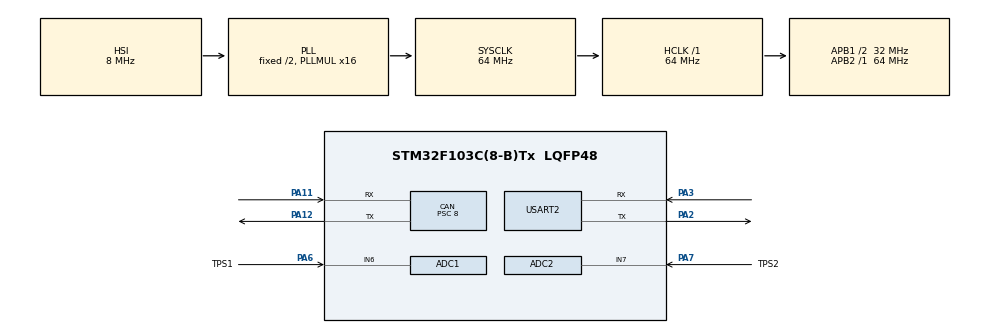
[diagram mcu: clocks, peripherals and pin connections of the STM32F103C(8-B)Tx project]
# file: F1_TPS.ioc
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ADC1.Channel-0\#ChannelRegularConversion=ADC_CHANNEL_6
ADC1.NbrOfConversionFlag=1
ADC1.Rank-0\#ChannelRegularConversion=1
ADC1.SamplingTime-0\#ChannelRegularConversion=ADC_SAMPLETIME_28CYCLES_5
ADC1.master=1
ADC2.Channel-0\#ChannelRegularConversion=ADC_CHANNEL_7
ADC2.NbrOfConversionFlag=1
ADC2.Rank-0\#ChannelRegularConversion=1
ADC2.SamplingTime-0\#ChannelRegularConversion=ADC_SAMPLETIME_28CYCLES_5
CAN.ABOM=ENABLE
CAN.BS1=CAN_BS1_6TQ
CAN.CalculateBaudRate=500000
CAN.CalculateTimeBit=2000
CAN.CalculateTimeQuantum=250.0
CAN.NART=ENABLE
CAN.Prescaler=8
Mcu.Family=STM32F1
Mcu.Name=STM32F103C(8-B)Tx
Mcu.Package=LQFP48
NVIC.CAN1_RX1_IRQn=true\:2\:0\:true\:false\:true\:true\:true\:true
NVIC.CAN1_SCE_IRQn=true\:2\:0\:true\:false\:true\:true\:true\:true
NVIC.PriorityGroup=NVIC_PRIORITYGROUP_4
NVIC.TIM2_IRQn=true\:1\:0\:true\:false\:true\:true\:true\:true
NVIC.USB_HP_CAN1_TX_IRQn=true\:2\:0\:true\:false\:true\:true\:true\:true
NVIC.USB_LP_CAN1_RX0_IRQn=true\:2\:0\:true\:false\:true\:true\:true\:true
PA11.Mode=CAN_Activate
PA11.Signal=CAN_RX
PA12.Mode=CAN_Activate
PA12.Signal=CAN_TX
PA13.Mode=Serial_Wire
PA13.Signal=SYS_JTMS-SWDIO
PA14.Mode=Serial_Wire
PA14.Signal=SYS_JTCK-SWCLK
PA2.Mode=Asynchronous
PA2.Signal=USART2_TX
PA3.Mode=Asynchronous
PA3.Signal=USART2_RX
PA6.GPIO_Label=TPS1
PA6.Signal=ADCx_IN6
PA7.GPIO_Label=TPS2
PA7.Signal=ADCx_IN7
PD0-OSC_IN.Mode=HSE-External-Oscillator
PD0-OSC_IN.Signal=RCC_OSC_IN
PD1-OSC_OUT.Mode=HSE-External-Oscillator
PD1-OSC_OUT.Signal=RCC_OSC_OUT
ProjectManager.HeapSize=0x200
ProjectManager.StackSize=0x400
ProjectManager.TargetToolchain=Makefile
RCC.ADCPresc=RCC_ADCPCLK2_DIV6
RCC.AHBFreq_Value=64000000
RCC.APB1CLKDivider=RCC_HCLK_DIV2
RCC.APB1Freq_Value=32000000
RCC.APB1TimFreq_Value=64000000
RCC.APB2Freq_Value=64000000
RCC.APB2TimFreq_Value=64000000
RCC.HCLKFreq_Value=64000000
RCC.PLLMUL=RCC_PLL_MUL16
RCC.SYSCLKFreq_VALUE=64000000
RCC.SYSCLKSource=RCC_SYSCLKSOURCE_PLLCLK
RCC.USBFreq_Value=64000000
SH.ADCx_IN6.0=ADC1_IN6,IN6
SH.ADCx_IN7.0=ADC2_IN7,IN7
TIM2.Period=999
TIM2.Prescaler=639
USART2.VirtualMode=VM_ASYNC
VP_TIM2_VS_ClockSourceINT.Mode=Internal
board=custom

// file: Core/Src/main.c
/* USER CODE BEGIN Header */
/**
  ******************************************************************************
  * @file           : main.c
  * @brief          : Main program body
  ******************************************************************************
  * @attention
  *
  * Copyright (c) 2025 STMicroelectronics.
  * All rights reserved.
  *
  * This software is licensed under terms that can be found in the LICENSE file
  * in the root directory of this software component.
  * If no LICENSE file comes with this software, it is provided AS-IS.
  *
  ******************************************************************************
  */
/* USER CODE END Header */
#include "main.h"

/* USER CODE BEGIN Includes */
#include "string.h"
#include "stdio.h"
#include "math.h"
#include "timer_software.h"
/* USER CODE END Includes */

ADC_HandleTypeDef hadc1;
ADC_HandleTypeDef hadc2;

CAN_HandleTypeDef hcan;

TIM_HandleTypeDef htim2;

UART_HandleTypeDef huart2;

void SystemClock_Config(void);
static void MX_GPIO_Init(void);
static void MX_CAN_Init(void);
static void MX_TIM2_Init(void);
static void MX_USART2_UART_Init(void);
static void MX_ADC1_Init(void);
static void MX_ADC2_Init(void);
/* USER CODE BEGIN PFP */
#define ADC_MAX 4095
#define V_MIN 0.5
#define V_MAX 2.97
#define V_SUM 3.3

uint16_t TPS1;
uint16_t TPS2;
float v1;
float v2;
uint8_t T1;

void CAN_Filter_Config(void) {
    CAN_FilterTypeDef filter;
    filter.FilterBank = 0;
    filter.FilterMode = CAN_FILTERMODE_IDMASK;
    filter.FilterScale = CAN_FILTERSCALE_32BIT;
    filter.FilterIdHigh = 0x0000;
    filter.FilterIdLow = 0x0000;
    filter.FilterMaskIdHigh = 0x0000;
    filter.FilterMaskIdLow = 0x0000;
    filter.FilterFIFOAssignment = CAN_RX_FIFO0;
    filter.FilterActivation = ENABLE;
    if (HAL_CAN_ConfigFilter(&hcan, &filter) != HAL_OK) {
        debug_print("CAN Filter Config Failed\r\n");
        Error_Handler();
    }
}

// ----------------------------------------------------------------------------------------------
float adc_to_voltage(uint32_t adc_value) {
    return (float)adc_value * 3.3 / ADC_MAX;
}

int check_sensor(float v1, float v2) {
    float sum = v1 + v2;
    if (fabs(sum - V_SUM) >= 0.2) return 0;
    return 1;
}

void debug_print(const char* msg) {
    HAL_UART_Transmit(&huart2, (uint8_t*)msg, strlen(msg), HAL_MAX_DELAY);
}

uint16_t read_ADC(ADC_HandleTypeDef* hadc) {

    HAL_ADC_Start(hadc);
    HAL_ADC_PollForConversion(hadc, HAL_MAX_DELAY);
    return HAL_ADC_GetValue(hadc);
}

//----------------------------------------------------------------------------------------------
// void send_TPS(uint16_t TPS1) {
//     CAN_TxHeaderTypeDef tx_header;
//     uint8_t tx_data[1];
//     uint32_t tx_mailbox;

//     if (TPS1 > 4095 || TPS2 > 4095) {
//         debug_print("Error: Invalid TPS values\r\n");
//         return;
//     }

//     tx_header.StdId = 0x100;
//     tx_header.IDE = CAN_ID_STD;
//     tx_header.RTR = CAN_RTR_DATA;
//     tx_header.DLC = 4;

//     // tx_data[0] = (uint8_t)(TPS1);
//     tx_data[0] = (uint8_t)(TPS1 & 0xFF);       // Byte thấp TPS1
//     tx_data[1] = (uint8_t)((TPS1 >> 8) & 0xFF); // Byte cao TPS1
//     tx_data[2] = (uint8_t)(TPS2 & 0xFF);       // Byte thấp TPS2z`
//     tx_data[3] = (uint8_t)((TPS2 >> 8) & 0xFF); // Byte cao TPS2

//     if (HAL_CAN_AddTxMessage(&hcan, &tx_header, tx_data, &tx_mailbox) != HAL_OK) {
//         debug_print("CAN TX Failed\r\n");
//     }
// }

void send_TPS(uint16_t TPS1, uint16_t TPS2) {
    CAN_TxHeaderTypeDef tx_header;
    uint8_t tx_data[4];
    uint32_t tx_mailbox;

    if (TPS1 > 4095 || TPS2 > 4095) {
        debug_print("Error: Invalid TPS values\r\n");
        return;
    }

    tx_header.StdId = 0x100;
    tx_header.IDE = CAN_ID_STD;
    tx_header.RTR = CAN_RTR_DATA;
    tx_header.DLC = 4;

    tx_data[0] = (uint8_t)(TPS1 & 0xFF);       // Byte thấp TPS1
    tx_data[1] = (uint8_t)((TPS1 >> 8) & 0xFF); // Byte cao TPS1
    tx_data[2] = (uint8_t)(TPS2 & 0xFF);       // Byte thấp TPS2
    tx_data[3] = (uint8_t)((TPS2 >> 8) & 0xFF); // Byte cao TPS2

    if (HAL_CAN_AddTxMessage(&hcan, &tx_header, tx_data, &tx_mailbox) != HAL_OK) {
        debug_print("CAN TX Failed\r\n");
    }
}
void HAL_CAN_TxMailbox1CompleteCallback(CAN_HandleTypeDef *hcan)
{
		char buff[50];
		sprintf(buff, "Message Transmitted: M1\n");
		HAL_UART_Transmit(&huart2, (uint8_t *)buff, strlen(buff), HAL_MAX_DELAY);
}
void HAL_CAN_TxMailbox2CompleteCallback(CAN_HandleTypeDef *hcan)
{
		char buff[50];
		sprintf(buff, "Message Transmitted: M2\n");
		HAL_UART_Transmit(&huart2, (uint8_t *)buff, strlen(buff), HAL_MAX_DELAY);
}

void HAL_CAN_ErrorCallback(CAN_HandleTypeDef *hcan) {
    char msg[50];
    snprintf(msg, sizeof(msg), "CAN Error: %lu\r\n", HAL_CAN_GetError(hcan));
    debug_print(msg);
    if (HAL_CAN_GetError(hcan) & HAL_CAN_ERROR_BOF) {
        debug_print("CAN Bus Off, Resetting...\r\n");
        HAL_CAN_ResetError(hcan);
        HAL_CAN_Start(hcan);
        CAN_Filter_Config(); // Cấu hình lại bộ lọc
    }
}

void HAL_TIM_PeriodElapsedCallback(TIM_HandleTypeDef *htim) {
  timer_run();
}
/* USER CODE END PFP */

int main(void)
{

  /* MCU Configuration--------------------------------------------------------*/

  /* Reset of all peripherals, Initializes the Flash interface and the Systick. */
  HAL_Init();

  /* Configure the system clock */
  SystemClock_Config();

  /* Initialize all configured peripherals */
  MX_GPIO_Init();
  MX_CAN_Init();
  MX_TIM2_Init();
  MX_USART2_UART_Init();
  MX_ADC1_Init();
  MX_ADC2_Init();
  /* USER CODE BEGIN 2 */
  CAN_Filter_Config();
  if (HAL_CAN_Start(&hcan) != HAL_OK) {
    debug_print("CAN Start Failed\r\n");
    Error_Handler();
  }

  if (HAL_CAN_ActivateNotification(&hcan,  CAN_IT_TX_MAILBOX_EMPTY| CAN_IT_BUSOFF) != HAL_OK) {
    debug_print("CAN Notification Failed\r\n");
    Error_Handler();
}
  HAL_ADCEx_Calibration_Start(&hadc1);
  HAL_ADCEx_Calibration_Start(&hadc2);
  HAL_TIM_Base_Start_IT(&htim2);
  set_timer(0, 10);
  /* USER CODE END 2 */

  /* Infinite loop */
  /* USER CODE BEGIN WHILE */
  while (1)
  {
    if(timerFLag[0] == 1)
    {
      TPS1 = read_ADC(&hadc1);
      TPS2 = read_ADC(&hadc2);

      v1 = adc_to_voltage(TPS1);
      v2 = adc_to_voltage(TPS2);

      if (!check_sensor(v1, v2))
      {
        debug_print("Sensor Error: TPS1 + TPS2 sum invalid\r\n");
        continue;
      }

      else {

      send_TPS(TPS1, TPS2);
      }
      set_timer(0, 10);

    }
    /* USER CODE END WHILE */

  }
}

void SystemClock_Config(void)
{
  RCC_OscInitTypeDef RCC_OscInitStruct = {0};
  RCC_ClkInitTypeDef RCC_ClkInitStruct = {0};
  RCC_PeriphCLKInitTypeDef PeriphClkInit = {0};

  /** Initializes the RCC Oscillators according to the specified parameters
  * in the RCC_OscInitTypeDef structure.
  */
  RCC_OscInitStruct.OscillatorType = RCC_OSCILLATORTYPE_HSI;
  RCC_OscInitStruct.HSIState = RCC_HSI_ON;
  RCC_OscInitStruct.HSICalibrationValue = RCC_HSICALIBRATION_DEFAULT;
  RCC_OscInitStruct.PLL.PLLState = RCC_PLL_ON;
  RCC_OscInitStruct.PLL.PLLSource = RCC_PLLSOURCE_HSI_DIV2;
  RCC_OscInitStruct.PLL.PLLMUL = RCC_PLL_MUL16;
  if (HAL_RCC_OscConfig(&RCC_OscInitStruct) != HAL_OK)
  {
    Error_Handler();
  }

  /** Initializes the CPU, AHB and APB buses clocks
  */
  RCC_ClkInitStruct.ClockType = RCC_CLOCKTYPE_HCLK|RCC_CLOCKTYPE_SYSCLK
                              |RCC_CLOCKTYPE_PCLK1|RCC_CLOCKTYPE_PCLK2;
  RCC_ClkInitStruct.SYSCLKSource = RCC_SYSCLKSOURCE_PLLCLK;
  RCC_ClkInitStruct.AHBCLKDivider = RCC_SYSCLK_DIV1;
  RCC_ClkInitStruct.APB1CLKDivider = RCC_HCLK_DIV2;
  RCC_ClkInitStruct.APB2CLKDivider = RCC_HCLK_DIV1;

  if (HAL_RCC_ClockConfig(&RCC_ClkInitStruct, FLASH_LATENCY_2) != HAL_OK)
  {
    Error_Handler();
  }
  PeriphClkInit.PeriphClockSelection = RCC_PERIPHCLK_ADC;
  PeriphClkInit.AdcClockSelection = RCC_ADCPCLK2_DIV6;
  if (HAL_RCCEx_PeriphCLKConfig(&PeriphClkInit) != HAL_OK)
  {
    Error_Handler();
  }
}

static void MX_ADC1_Init(void)
{

  ADC_ChannelConfTypeDef sConfig = {0};

  /** Common config
  */
  hadc1.Instance = ADC1;
  hadc1.Init.ScanConvMode = ADC_SCAN_DISABLE;
  hadc1.Init.ContinuousConvMode = DISABLE;
  hadc1.Init.DiscontinuousConvMode = DISABLE;
  hadc1.Init.ExternalTrigConv = ADC_SOFTWARE_START;
  hadc1.Init.DataAlign = ADC_DATAALIGN_RIGHT;
  hadc1.Init.NbrOfConversion = 1;
  if (HAL_ADC_Init(&hadc1) != HAL_OK)
  {
    Error_Handler();
  }

  /** Configure Regular Channel
  */
  sConfig.Channel = ADC_CHANNEL_6;
  sConfig.Rank = ADC_REGULAR_RANK_1;
  sConfig.SamplingTime = ADC_SAMPLETIME_28CYCLES_5;
  if (HAL_ADC_ConfigChannel(&hadc1, &sConfig) != HAL_OK)
  {
    Error_Handler();
  }

}

static void MX_ADC2_Init(void)
{

  ADC_ChannelConfTypeDef sConfig = {0};

  /** Common config
  */
  hadc2.Instance = ADC2;
  hadc2.Init.ScanConvMode = ADC_SCAN_DISABLE;
  hadc2.Init.ContinuousConvMode = DISABLE;
  hadc2.Init.DiscontinuousConvMode = DISABLE;
  hadc2.Init.ExternalTrigConv = ADC_SOFTWARE_START;
  hadc2.Init.DataAlign = ADC_DATAALIGN_RIGHT;
  hadc2.Init.NbrOfConversion = 1;
  if (HAL_ADC_Init(&hadc2) != HAL_OK)
  {
    Error_Handler();
  }

  /** Configure Regular Channel
  */
  sConfig.Channel = ADC_CHANNEL_7;
  sConfig.Rank = ADC_REGULAR_RANK_1;
  sConfig.SamplingTime = ADC_SAMPLETIME_28CYCLES_5;
  if (HAL_ADC_ConfigChannel(&hadc2, &sConfig) != HAL_OK)
  {
    Error_Handler();
  }

}

static void MX_CAN_Init(void)
{

  hcan.Instance = CAN1;
  hcan.Init.Prescaler = 8;
  hcan.Init.Mode = CAN_MODE_NORMAL;
  hcan.Init.SyncJumpWidth = CAN_SJW_1TQ;
  hcan.Init.TimeSeg1 = CAN_BS1_6TQ;
  hcan.Init.TimeSeg2 = CAN_BS2_1TQ;
  hcan.Init.TimeTriggeredMode = DISABLE;
  hcan.Init.AutoBusOff = ENABLE;
  hcan.Init.AutoWakeUp = DISABLE;
  hcan.Init.AutoRetransmission = ENABLE;
  hcan.Init.ReceiveFifoLocked = DISABLE;
  hcan.Init.TransmitFifoPriority = DISABLE;
  if (HAL_CAN_Init(&hcan) != HAL_OK)
  {
    Error_Handler();
  }

}

static void MX_TIM2_Init(void)
{

  TIM_ClockConfigTypeDef sClockSourceConfig = {0};
  TIM_MasterConfigTypeDef sMasterConfig = {0};

  htim2.Instance = TIM2;
  htim2.Init.Prescaler = 639;
  htim2.Init.CounterMode = TIM_COUNTERMODE_UP;
  htim2.Init.Period = 999;
  htim2.Init.ClockDivision = TIM_CLOCKDIVISION_DIV1;
  htim2.Init.AutoReloadPreload = TIM_AUTORELOAD_PRELOAD_DISABLE;
  if (HAL_TIM_Base_Init(&htim2) != HAL_OK)
  {
    Error_Handler();
  }
  sClockSourceConfig.ClockSource = TIM_CLOCKSOURCE_INTERNAL;
  if (HAL_TIM_ConfigClockSource(&htim2, &sClockSourceConfig) != HAL_OK)
  {
    Error_Handler();
  }
  sMasterConfig.MasterOutputTrigger = TIM_TRGO_RESET;
  sMasterConfig.MasterSlaveMode = TIM_MASTERSLAVEMODE_DISABLE;
  if (HAL_TIMEx_MasterConfigSynchronization(&htim2, &sMasterConfig) != HAL_OK)
  {
    Error_Handler();
  }

}

static void MX_USART2_UART_Init(void)
{

  huart2.Instance = USART2;
  huart2.Init.BaudRate = 115200;
  huart2.Init.WordLength = UART_WORDLENGTH_8B;
  huart2.Init.StopBits = UART_STOPBITS_1;
  huart2.Init.Parity = UART_PARITY_NONE;
  huart2.Init.Mode = UART_MODE_TX_RX;
  huart2.Init.HwFlowCtl = UART_HWCONTROL_NONE;
  huart2.Init.OverSampling = UART_OVERSAMPLING_16;
  if (HAL_UART_Init(&huart2) != HAL_OK)
  {
    Error_Handler();
  }

}

static void MX_GPIO_Init(void)
{

  /* GPIO Ports Clock Enable */
  __HAL_RCC_GPIOD_CLK_ENABLE();
  __HAL_RCC_GPIOA_CLK_ENABLE();

}

void Error_Handler(void)
{
  __disable_irq();
  while (1)
  {
  }
}
